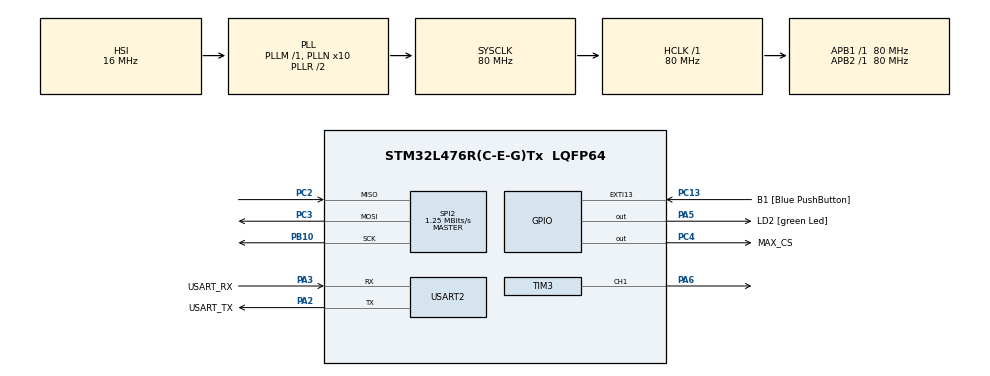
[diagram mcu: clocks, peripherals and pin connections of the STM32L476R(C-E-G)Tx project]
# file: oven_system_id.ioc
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Mcu.Family=STM32L4
PC3.Mode=Full_Duplex_Master
PA2.GPIO_PuPd=GPIO_NOPULL
RCC.CortexFreq_Value=80000000
SPI2.VirtualType=VM_MASTER
PB10.Mode=Full_Duplex_Master
PH0-OSC_IN\ (PH0).Signal=RCC_OSC_IN
PA3.GPIO_PuPd=GPIO_NOPULL
PA2.GPIO_Speed=GPIO_SPEED_FREQ_VERY_HIGH
PC15-OSC32_OUT\ (PC15).Mode=LSE-External-Oscillator
PC13.GPIO_Label=B1 [Blue PushButton]
PA3.GPIO_Speed=GPIO_SPEED_FREQ_VERY_HIGH
RCC.SYSCLKSource=RCC_SYSCLKSOURCE_PLLCLK
ProjectManager.StackSize=0x400
PB3\ (JTDO-TRACESWO).Signal=SYS_JTDO-SWO
PC14-OSC32_IN\ (PC14).Mode=LSE-External-Oscillator
PA14\ (JTCK-SWCLK).Signal=SYS_JTCK-SWCLK
RCC.HCLKFreq_Value=80000000
RCC.APB2TimFreq_Value=80000000
TIM3.Period=255 - 1
TIM3.OC1Preload_PWM=ENABLE
PC3.Signal=SPI2_MOSI
RCC.AHBFreq_Value=80000000
RCC.PREFETCH_ENABLE=1
SPI2.BaudRatePrescaler=SPI_BAUDRATEPRESCALER_64
TIM3.Channel-PWM\ Generation1\ CH1=TIM_CHANNEL_1
RCC.HSE_VALUE=8000000
USART2.VirtualMode-Asynchronous=VM_ASYNC
PC4.GPIO_Label=MAX_CS
TIM3.Prescaler=157 - 1
PA5.GPIO_PuPd=GPIO_NOPULL
PC13.GPIO_PuPd=GPIO_NOPULL
SPI2.CalculateBaudRate=1.25 MBits/s
SH.S_TIM3_CH1.0=TIM3_CH1,PWM Generation1 CH1
Mcu.Package=LQFP64
PA6.Signal=S_TIM3_CH1
SPI2.Mode=SPI_MODE_MASTER
PA2.GPIO_Label=USART_TX
RCC.APB1TimFreq_Value=80000000
SPI2.Direction=SPI_DIRECTION_2LINES
TIM16.Prescaler=800 - 1
PA13\ (JTMS-SWDIO).Signal=SYS_JTMS-SWDIO
VP_TIM3_VS_ClockSourceINT.Mode=Internal
PA3.Signal=USART2_RX
PA2.GPIO_Mode=GPIO_MODE_AF_PP
RCC.MSI_VALUE=4000000
RCC.PLLSourceVirtual=RCC_PLLSOURCE_HSI
PA14\ (JTCK-SWCLK).Mode=Serial_Wire
PC13.Signal=GPXTI13
PC2.Signal=SPI2_MISO
PC4.Signal=GPIO_Output
PC2.Mode=Full_Duplex_Master
PC15-OSC32_OUT\ (PC15).Signal=RCC_OSC32_OUT
VP_TIM16_VS_ClockSourceINT.Mode=Enable_Timer
PA14\ (JTCK-SWCLK).GPIO_Label=TCK
PB3\ (JTDO-TRACESWO).GPIO_Label=SWO
PH1-OSC_OUT\ (PH1).Signal=RCC_OSC_OUT
PA3.Mode=Asynchronous
TIM3.Pulse-PWM\ Generation1\ CH1=0
ProjectManager.TargetToolchain=STM32CubeIDE
PA3.GPIO_Mode=GPIO_MODE_AF_PP
RCC.USBFreq_Value=64000000
PB10.Signal=SPI2_SCK
PA5.Signal=GPIO_Output
board=NUCLEO-L476RG
RCC.VCOOutputFreq_Value=160000000
TIM16.Period=10000 - 1
RCC.APB2Freq_Value=80000000
PA5.GPIO_ModeDefaultOutputPP=GPIO_MODE_OUTPUT_PP
PA13\ (JTMS-SWDIO).GPIO_Label=TMS
RCC.ADCFreq_Value=64000000
Mcu.Name=STM32L476R(C-E-G)Tx
PA2.Signal=USART2_TX
PA13\ (JTMS-SWDIO).Mode=Serial_Wire
RCC.SYSCLKFreq_VALUE=80000000
PA5.GPIO_Label=LD2 [green Led]
PC13.GPIO_ModeDefaultEXTI=GPIO_MODE_IT_FALLING
PC14-OSC32_IN\ (PC14).Signal=RCC_OSC32_IN
ProjectManager.HeapSize=0x200
RCC.HSI_VALUE=16000000
NVIC.TIM1_UP_TIM16_IRQn=true\:0\:0\:false\:false\:true\:true\:true
PA5.GPIO_Speed=GPIO_SPEED_FREQ_LOW
NVIC.PriorityGroup=NVIC_PRIORITYGROUP_4
RCC.PLLN=10
PA2.Mode=Asynchronous
SPI2.DataSize=SPI_DATASIZE_8BIT
RCC.APB1Freq_Value=80000000
PA3.GPIO_Label=USART_RX

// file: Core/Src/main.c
/* USER CODE BEGIN Header */
/**
  ******************************************************************************
  * @file           : main.c
  * @brief          : Main program body
  ******************************************************************************
  * @attention
  *
  * <h2><center>&copy; Copyright (c) 2021 STMicroelectronics.
  * All rights reserved.</center></h2>
  *
  * This software component is licensed by ST under BSD 3-Clause license,
  * the "License"; You may not use this file except in compliance with the
  * License. You may obtain a copy of the License at:
  *                        opensource.org/licenses/BSD-3-Clause
  *
  ******************************************************************************
  */
/* USER CODE END Header */
#include "main.h"

/* USER CODE BEGIN Includes */
#include <string.h>
#include <stdio.h>
#include "MAX31855K.h"
/* USER CODE END Includes */

SPI_HandleTypeDef hspi2;

TIM_HandleTypeDef htim3;
TIM_HandleTypeDef htim16;

UART_HandleTypeDef huart2;

/* USER CODE BEGIN PV */
volatile uint8_t bin_sem = 0; // Synchronize main task with interrupt.
volatile uint8_t count = 0;
/* USER CODE END PV */

void SystemClock_Config(void);
static void MX_GPIO_Init(void);
static void MX_USART2_UART_Init(void);
static void MX_TIM16_Init(void);
static void MX_SPI2_Init(void);
static void MX_TIM3_Init(void);

int main(void)
{

  /* MCU Configuration--------------------------------------------------------*/

  /* Reset of all peripherals, Initializes the Flash interface and the Systick. */
  HAL_Init();

  /* Configure the system clock */
  SystemClock_Config();

  /* Initialize all configured peripherals */
  MX_GPIO_Init();
  MX_USART2_UART_Init();
  MX_TIM16_Init();
  MX_SPI2_Init();
  MX_TIM3_Init();
  /* USER CODE BEGIN 2 */

  __HAL_TIM_ENABLE_OCxPRELOAD(&htim3, TIM_CHANNEL_1); // Set OC1PE bit to enable output compare channel 1 preload.

  HAL_TIM_Base_Start_IT(&htim16); // Start 0.1 s timer interrupt.
  /* USER CODE END 2 */

  /* Infinite loop */
  /* USER CODE BEGIN WHILE */
  uint8_t duty_cycle = 50; // TODO: Update control signal and set point
  uint8_t set_point = 170; //
  HAL_TIM_PWM_Start(&htim3, TIM_CHANNEL_1); // Duty cycle initialized to 0%.
  while (1)
  {
	// Wait for timer interrupt.
	while(bin_sem == 0)
	{
		HAL_Delay(1);
	}
	bin_sem = 0;

	if(count == 50)
	{
		count = 0;
		__HAL_TIM_SET_COMPARE(&htim3, TIM_CHANNEL_1, 255);
	}
	// Transmit set point, MCU control signal and temperature reading.
	char UART_buf[100] = {0};
	MAX31855K_t *max_ptr = max31855k_read(&hspi2, MAX_CS_GPIO_Port, MAX_CS_Pin);

	switch (max_ptr->err)
	{
	case THERMO_OK:
		sprintf(UART_buf, "%d %d %.2f\r\n", set_point, duty_cycle, max_ptr->hj_temp);
		break;
	case THERMO_SHORT_VCC: // Thermocouple shorted to VCC.
		sprintf(UART_buf, "Thermocouple shorted to VCC\r\n");
		break;
	case THERMO_SHORT_GND: // Thermocouple shorted to GND.
		sprintf(UART_buf, "Thermocouple shorted to GND\r\n");
		break;
	case THERMO_OPEN:      // Thermocouple connection is open.
		sprintf(UART_buf, "Thermocouple connection is open\r\n");
		break;
	case THERMO_ZEROS:      // SPI read only 0s.
		sprintf(UART_buf, "SPI read only 0s\r\n");
		break;
	default:
		sprintf(UART_buf, "Unknown error");
		break;
	}
	HAL_UART_Transmit(&huart2, (uint8_t*)UART_buf, strlen(UART_buf), HAL_MAX_DELAY);

    /* USER CODE END WHILE */

  }
}

void SystemClock_Config(void)
{
  RCC_OscInitTypeDef RCC_OscInitStruct = {0};
  RCC_ClkInitTypeDef RCC_ClkInitStruct = {0};
  RCC_PeriphCLKInitTypeDef PeriphClkInit = {0};

  /** Initializes the RCC Oscillators according to the specified parameters
  * in the RCC_OscInitTypeDef structure.
  */
  RCC_OscInitStruct.OscillatorType = RCC_OSCILLATORTYPE_HSI;
  RCC_OscInitStruct.HSIState = RCC_HSI_ON;
  RCC_OscInitStruct.HSICalibrationValue = RCC_HSICALIBRATION_DEFAULT;
  RCC_OscInitStruct.PLL.PLLState = RCC_PLL_ON;
  RCC_OscInitStruct.PLL.PLLSource = RCC_PLLSOURCE_HSI;
  RCC_OscInitStruct.PLL.PLLM = 1;
  RCC_OscInitStruct.PLL.PLLN = 10;
  RCC_OscInitStruct.PLL.PLLP = RCC_PLLP_DIV7;
  RCC_OscInitStruct.PLL.PLLQ = RCC_PLLQ_DIV2;
  RCC_OscInitStruct.PLL.PLLR = RCC_PLLR_DIV2;
  if (HAL_RCC_OscConfig(&RCC_OscInitStruct) != HAL_OK)
  {
    Error_Handler();
  }
  /** Initializes the CPU, AHB and APB buses clocks
  */
  RCC_ClkInitStruct.ClockType = RCC_CLOCKTYPE_HCLK|RCC_CLOCKTYPE_SYSCLK
                              |RCC_CLOCKTYPE_PCLK1|RCC_CLOCKTYPE_PCLK2;
  RCC_ClkInitStruct.SYSCLKSource = RCC_SYSCLKSOURCE_PLLCLK;
  RCC_ClkInitStruct.AHBCLKDivider = RCC_SYSCLK_DIV1;
  RCC_ClkInitStruct.APB1CLKDivider = RCC_HCLK_DIV1;
  RCC_ClkInitStruct.APB2CLKDivider = RCC_HCLK_DIV1;

  if (HAL_RCC_ClockConfig(&RCC_ClkInitStruct, FLASH_LATENCY_4) != HAL_OK)
  {
    Error_Handler();
  }
  PeriphClkInit.PeriphClockSelection = RCC_PERIPHCLK_USART2;
  PeriphClkInit.Usart2ClockSelection = RCC_USART2CLKSOURCE_PCLK1;
  if (HAL_RCCEx_PeriphCLKConfig(&PeriphClkInit) != HAL_OK)
  {
    Error_Handler();
  }
  /** Configure the main internal regulator output voltage
  */
  if (HAL_PWREx_ControlVoltageScaling(PWR_REGULATOR_VOLTAGE_SCALE1) != HAL_OK)
  {
    Error_Handler();
  }
}

static void MX_SPI2_Init(void)
{

  /* SPI2 parameter configuration*/
  hspi2.Instance = SPI2;
  hspi2.Init.Mode = SPI_MODE_MASTER;
  hspi2.Init.Direction = SPI_DIRECTION_2LINES;
  hspi2.Init.DataSize = SPI_DATASIZE_8BIT;
  hspi2.Init.CLKPolarity = SPI_POLARITY_LOW;
  hspi2.Init.CLKPhase = SPI_PHASE_1EDGE;
  hspi2.Init.NSS = SPI_NSS_SOFT;
  hspi2.Init.BaudRatePrescaler = SPI_BAUDRATEPRESCALER_64;
  hspi2.Init.FirstBit = SPI_FIRSTBIT_MSB;
  hspi2.Init.TIMode = SPI_TIMODE_DISABLE;
  hspi2.Init.CRCCalculation = SPI_CRCCALCULATION_DISABLE;
  hspi2.Init.CRCPolynomial = 7;
  hspi2.Init.CRCLength = SPI_CRC_LENGTH_DATASIZE;
  hspi2.Init.NSSPMode = SPI_NSS_PULSE_ENABLE;
  if (HAL_SPI_Init(&hspi2) != HAL_OK)
  {
    Error_Handler();
  }

}

static void MX_TIM3_Init(void)
{

  TIM_ClockConfigTypeDef sClockSourceConfig = {0};
  TIM_MasterConfigTypeDef sMasterConfig = {0};
  TIM_OC_InitTypeDef sConfigOC = {0};

  htim3.Instance = TIM3;
  htim3.Init.Prescaler = 157 - 1;
  htim3.Init.CounterMode = TIM_COUNTERMODE_UP;
  htim3.Init.Period = 255 - 1;
  htim3.Init.ClockDivision = TIM_CLOCKDIVISION_DIV1;
  htim3.Init.AutoReloadPreload = TIM_AUTORELOAD_PRELOAD_DISABLE;
  if (HAL_TIM_Base_Init(&htim3) != HAL_OK)
  {
    Error_Handler();
  }
  sClockSourceConfig.ClockSource = TIM_CLOCKSOURCE_INTERNAL;
  if (HAL_TIM_ConfigClockSource(&htim3, &sClockSourceConfig) != HAL_OK)
  {
    Error_Handler();
  }
  if (HAL_TIM_PWM_Init(&htim3) != HAL_OK)
  {
    Error_Handler();
  }
  sMasterConfig.MasterOutputTrigger = TIM_TRGO_RESET;
  sMasterConfig.MasterSlaveMode = TIM_MASTERSLAVEMODE_DISABLE;
  if (HAL_TIMEx_MasterConfigSynchronization(&htim3, &sMasterConfig) != HAL_OK)
  {
    Error_Handler();
  }
  sConfigOC.OCMode = TIM_OCMODE_PWM1;
  sConfigOC.Pulse = 0;
  sConfigOC.OCPolarity = TIM_OCPOLARITY_HIGH;
  sConfigOC.OCFastMode = TIM_OCFAST_DISABLE;
  if (HAL_TIM_PWM_ConfigChannel(&htim3, &sConfigOC, TIM_CHANNEL_1) != HAL_OK)
  {
    Error_Handler();
  }
  HAL_TIM_MspPostInit(&htim3);

}

static void MX_TIM16_Init(void)
{

  htim16.Instance = TIM16;
  htim16.Init.Prescaler = 800 - 1;
  htim16.Init.CounterMode = TIM_COUNTERMODE_UP;
  htim16.Init.Period = 10000 - 1;
  htim16.Init.ClockDivision = TIM_CLOCKDIVISION_DIV1;
  htim16.Init.RepetitionCounter = 0;
  htim16.Init.AutoReloadPreload = TIM_AUTORELOAD_PRELOAD_DISABLE;
  if (HAL_TIM_Base_Init(&htim16) != HAL_OK)
  {
    Error_Handler();
  }

}

static void MX_USART2_UART_Init(void)
{

  huart2.Instance = USART2;
  huart2.Init.BaudRate = 115200;
  huart2.Init.WordLength = UART_WORDLENGTH_8B;
  huart2.Init.StopBits = UART_STOPBITS_1;
  huart2.Init.Parity = UART_PARITY_NONE;
  huart2.Init.Mode = UART_MODE_TX_RX;
  huart2.Init.HwFlowCtl = UART_HWCONTROL_NONE;
  huart2.Init.OverSampling = UART_OVERSAMPLING_16;
  huart2.Init.OneBitSampling = UART_ONE_BIT_SAMPLE_DISABLE;
  huart2.AdvancedInit.AdvFeatureInit = UART_ADVFEATURE_NO_INIT;
  if (HAL_UART_Init(&huart2) != HAL_OK)
  {
    Error_Handler();
  }

}

static void MX_GPIO_Init(void)
{
  GPIO_InitTypeDef GPIO_InitStruct = {0};

  /* GPIO Ports Clock Enable */
  __HAL_RCC_GPIOC_CLK_ENABLE();
  __HAL_RCC_GPIOH_CLK_ENABLE();
  __HAL_RCC_GPIOA_CLK_ENABLE();
  __HAL_RCC_GPIOB_CLK_ENABLE();

  /*Configure GPIO pin Output Level */
  HAL_GPIO_WritePin(LD2_GPIO_Port, LD2_Pin, GPIO_PIN_RESET);

  /*Configure GPIO pin Output Level */
  HAL_GPIO_WritePin(MAX_CS_GPIO_Port, MAX_CS_Pin, GPIO_PIN_RESET);

  /*Configure GPIO pin : B1_Pin */
  GPIO_InitStruct.Pin = B1_Pin;
  GPIO_InitStruct.Mode = GPIO_MODE_IT_FALLING;
  GPIO_InitStruct.Pull = GPIO_NOPULL;
  HAL_GPIO_Init(B1_GPIO_Port, &GPIO_InitStruct);

  /*Configure GPIO pin : LD2_Pin */
  GPIO_InitStruct.Pin = LD2_Pin;
  GPIO_InitStruct.Mode = GPIO_MODE_OUTPUT_PP;
  GPIO_InitStruct.Pull = GPIO_NOPULL;
  GPIO_InitStruct.Speed = GPIO_SPEED_FREQ_LOW;
  HAL_GPIO_Init(LD2_GPIO_Port, &GPIO_InitStruct);

  /*Configure GPIO pin : MAX_CS_Pin */
  GPIO_InitStruct.Pin = MAX_CS_Pin;
  GPIO_InitStruct.Mode = GPIO_MODE_OUTPUT_PP;
  GPIO_InitStruct.Pull = GPIO_NOPULL;
  GPIO_InitStruct.Speed = GPIO_SPEED_FREQ_LOW;
  HAL_GPIO_Init(MAX_CS_GPIO_Port, &GPIO_InitStruct);

}

/* USER CODE BEGIN 4 */

// Callback Function for TIM16 interrupt.
void HAL_TIM_PeriodElapsedCallback(TIM_HandleTypeDef * htim)
{
	if(htim == &htim16)
	{
		bin_sem = 1;
		count++;
	}
}
/* USER CODE END 4 */

void Error_Handler(void)
{
  __disable_irq();
  while (1)
  {
  }
}

/************************ (C) COPYRIGHT STMicroelectronics *****END OF FILE****/
